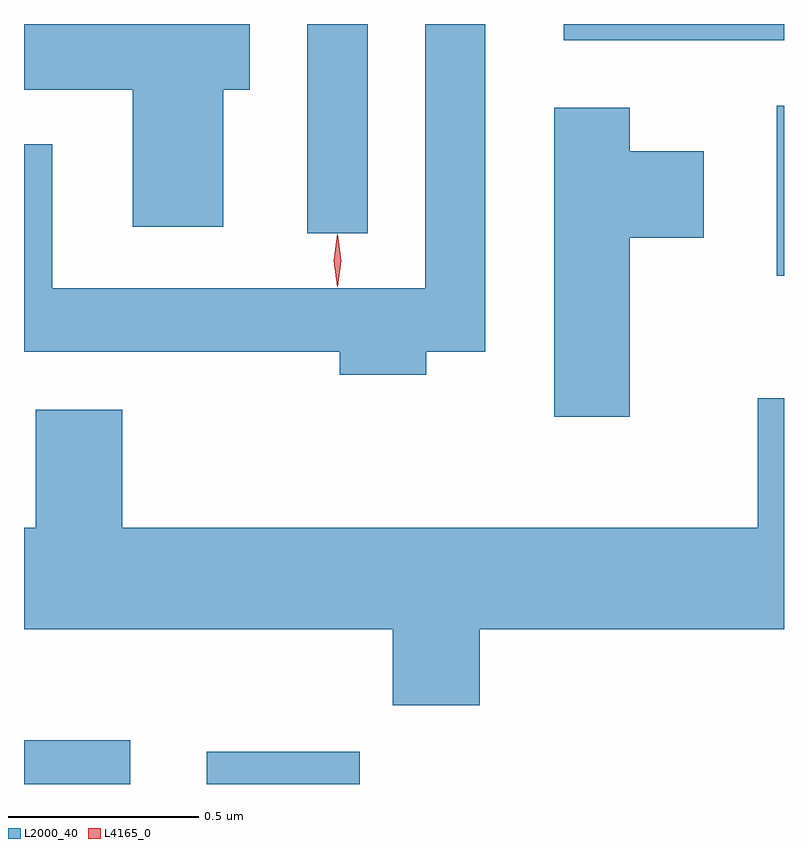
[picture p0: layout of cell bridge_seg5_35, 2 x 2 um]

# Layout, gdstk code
import gdstk
lib = gdstk.Library(unit=1e-6, precision=1e-09)
def R(c, l, rs):  # rectangles x0, y0, x1, y1
    for r in rs: c.add(gdstk.rectangle(r[:2], r[2:], *l))
def P(c, l, *ps):  # polygons
    for p in ps: c.add(gdstk.Polygon(p, *l))
L2000_40 = (2000, 40)
L4165_0 = (4165, 0)

bridge_seg5_35 = lib.new_cell('bridge_seg5_35')
R(bridge_seg5_35, L2000_40, [(1330.93,1467.489,1331.209,1467.604), (1331.411,1467.489,1331.814,1467.574), (1332.911,1468.826,1332.93,1469.274), (1331.676,1468.938,1331.834,1469.489), (1332.351,1469.446,1332.93,1469.489)])
P(bridge_seg5_35, L2000_40, [(1331.454,1469.316),(1331.524,1469.316),(1331.524,1469.489),(1330.93,1469.489),(1330.93,1469.316),(1331.216,1469.316),(1331.216,1468.956),(1331.454,1468.956)],
  [(1331.989,1468.626),(1332.144,1468.626),(1332.144,1469.489),(1331.986,1469.489),(1331.986,1468.794),(1331.004,1468.794),(1331.004,1469.173),(1330.93,1469.173),(1330.93,1468.626),(1331.761,1468.626),(1331.761,1468.566),(1331.989,1468.566)],
  [(1332.524,1468.926),(1332.719,1468.926),(1332.719,1469.154),(1332.524,1469.154),(1332.524,1469.269),(1332.326,1469.269),(1332.326,1468.456),(1332.524,1468.456)],
  [(1332.129,1467.896),(1332.93,1467.896),(1332.93,1468.504),(1332.861,1468.504),(1332.861,1468.164),(1331.189,1468.164),(1331.189,1468.474),(1330.961,1468.474),(1330.961,1468.164),(1330.93,1468.164),(1330.93,1467.896),(1331.901,1467.896),(1331.901,1467.696),(1332.129,1467.696)])
P(bridge_seg5_35, L4165_0, [(1331.755,1468.797),(1331.754,1468.798),(1331.745,1468.866),(1331.754,1468.936),(1331.755,1468.936),(1331.755,1468.936),(1331.765,1468.866),(1331.755,1468.798)],
  [(1331.755,1468.799),(1331.754,1468.8),(1331.745,1468.866),(1331.754,1468.932),(1331.755,1468.933),(1331.755,1468.932),(1331.765,1468.866),(1331.755,1468.8)])

lib.write_gds('bridge_seg5_35.gds')
